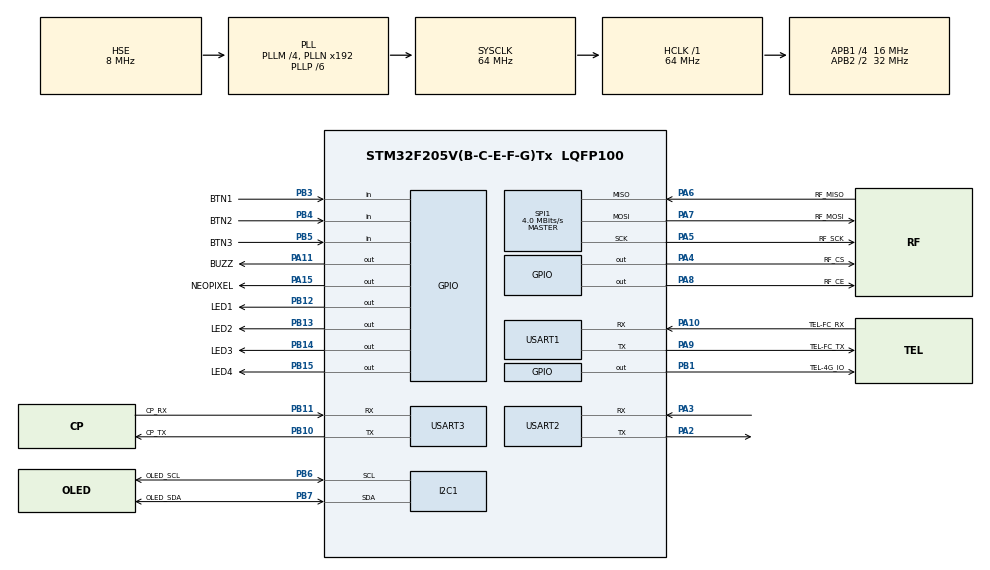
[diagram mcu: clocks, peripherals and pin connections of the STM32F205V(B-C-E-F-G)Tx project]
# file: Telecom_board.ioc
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Dma.Request0=USART1_RX
Dma.Request1=USART2_RX
Dma.Request2=USART3_RX
Dma.USART1_RX.0.Direction=DMA_PERIPH_TO_MEMORY
Dma.USART1_RX.0.FIFOMode=DMA_FIFOMODE_DISABLE
Dma.USART1_RX.0.Instance=DMA2_Stream2
Dma.USART1_RX.0.MemDataAlignment=DMA_MDATAALIGN_BYTE
Dma.USART1_RX.0.MemInc=DMA_MINC_ENABLE
Dma.USART1_RX.0.Mode=DMA_NORMAL
Dma.USART1_RX.0.PeriphDataAlignment=DMA_PDATAALIGN_BYTE
Dma.USART1_RX.0.PeriphInc=DMA_PINC_DISABLE
Dma.USART1_RX.0.Priority=DMA_PRIORITY_LOW
Dma.USART2_RX.1.Direction=DMA_PERIPH_TO_MEMORY
Dma.USART2_RX.1.FIFOMode=DMA_FIFOMODE_DISABLE
Dma.USART2_RX.1.Instance=DMA1_Stream5
Dma.USART2_RX.1.MemDataAlignment=DMA_MDATAALIGN_BYTE
Dma.USART2_RX.1.MemInc=DMA_MINC_ENABLE
Dma.USART2_RX.1.Mode=DMA_NORMAL
Dma.USART2_RX.1.PeriphDataAlignment=DMA_PDATAALIGN_BYTE
Dma.USART2_RX.1.PeriphInc=DMA_PINC_DISABLE
Dma.USART2_RX.1.Priority=DMA_PRIORITY_LOW
Dma.USART3_RX.2.Direction=DMA_PERIPH_TO_MEMORY
Dma.USART3_RX.2.FIFOMode=DMA_FIFOMODE_DISABLE
Dma.USART3_RX.2.Instance=DMA1_Stream1
Dma.USART3_RX.2.MemDataAlignment=DMA_MDATAALIGN_BYTE
Dma.USART3_RX.2.MemInc=DMA_MINC_ENABLE
Dma.USART3_RX.2.Mode=DMA_NORMAL
Dma.USART3_RX.2.PeriphDataAlignment=DMA_PDATAALIGN_BYTE
Dma.USART3_RX.2.PeriphInc=DMA_PINC_DISABLE
Dma.USART3_RX.2.Priority=DMA_PRIORITY_LOW
FREERTOS.INCLUDE_vTaskDelayUntil=1
FREERTOS.Tasks01=defaultTask,0,128,StartDefaultTask,Default,NULL,Dynamic,NULL,NULL
I2C1.I2C_Mode=I2C_Fast
Mcu.Family=STM32F2
Mcu.Name=STM32F205V(B-C-E-F-G)Tx
Mcu.Package=LQFP100
NVIC.DMA1_Stream1_IRQn=true\:5\:0\:false\:false\:true\:true\:false\:true
NVIC.DMA1_Stream5_IRQn=true\:5\:0\:false\:false\:true\:true\:false\:true
NVIC.DMA2_Stream2_IRQn=true\:5\:0\:false\:false\:true\:true\:false\:true
NVIC.PriorityGroup=NVIC_PRIORITYGROUP_4
NVIC.TIM5_IRQn=true\:15\:0\:true\:false\:true\:false\:false\:true
NVIC.TimeBase=TIM5_IRQn
NVIC.TimeBaseIP=TIM5
NVIC.USART1_IRQn=true\:5\:0\:false\:false\:true\:true\:true\:true
NVIC.USART2_IRQn=true\:5\:0\:false\:false\:true\:true\:true\:true
NVIC.USART3_IRQn=true\:5\:0\:false\:false\:true\:true\:true\:true
PA10.GPIO_Label=TEL-FC_RX
PA10.Mode=Asynchronous
PA10.Signal=USART1_RX
PA11.GPIO_Label=BUZZ
PA11.Signal=GPIO_Output
PA13.Mode=Serial_Wire
PA13.Signal=SYS_JTMS-SWDIO
PA14.Mode=Serial_Wire
PA14.Signal=SYS_JTCK-SWCLK
PA15.GPIO_Label=NEOPIXEL
PA15.Signal=GPIO_Output
PA2.Mode=Asynchronous
PA2.Signal=USART2_TX
PA3.Mode=Asynchronous
PA3.Signal=USART2_RX
PA4.GPIO_Label=RF_CS
PA4.Signal=GPIO_Output
PA5.GPIO_Label=RF_SCK
PA5.Mode=Full_Duplex_Master
PA5.Signal=SPI1_SCK
PA6.GPIO_Label=RF_MISO
PA6.Mode=Full_Duplex_Master
PA6.Signal=SPI1_MISO
PA7.GPIO_Label=RF_MOSI
PA7.Mode=Full_Duplex_Master
PA7.Signal=SPI1_MOSI
PA8.GPIO_Label=RF_CE
PA8.Signal=GPIO_Output
PA9.GPIO_Label=TEL-FC_TX
PA9.Mode=Asynchronous
PA9.Signal=USART1_TX
PB1.GPIO_Label=TEL-4G_IO
PB1.Signal=GPIO_Output
PB10.GPIO_Label=CP_TX
PB10.Mode=Asynchronous
PB10.Signal=USART3_TX
PB11.GPIO_Label=CP_RX
PB11.Mode=Asynchronous
PB11.Signal=USART3_RX
PB12.GPIO_Label=LED1
PB12.Signal=GPIO_Output
PB13.GPIO_Label=LED2
PB13.Signal=GPIO_Output
PB14.GPIO_Label=LED3
PB14.Signal=GPIO_Output
PB15.GPIO_Label=LED4
PB15.Signal=GPIO_Output
PB3.GPIO_Label=BTN1
PB3.Signal=GPIO_Input
PB4.GPIO_Label=BTN2
PB4.Signal=GPIO_Input
PB5.GPIO_Label=BTN3
PB5.Signal=GPIO_Input
PB6.GPIO_Label=OLED_SCL
PB6.Mode=I2C
PB6.Signal=I2C1_SCL
PB7.GPIO_Label=OLED_SDA
PB7.Mode=I2C
PB7.Signal=I2C1_SDA
PH0-OSC_IN.Mode=HSE-External-Oscillator
PH0-OSC_IN.Signal=RCC_OSC_IN
PH1-OSC_OUT.Mode=HSE-External-Oscillator
PH1-OSC_OUT.Signal=RCC_OSC_OUT
ProjectManager.HeapSize=0x2000
ProjectManager.StackSize=0x4000
ProjectManager.TargetToolchain=Makefile
RCC.48MHZClocksFreq_Value=96000000
RCC.AHBFreq_Value=64000000
RCC.APB1CLKDivider=RCC_HCLK_DIV4
RCC.APB1Freq_Value=16000000
RCC.APB1TimFreq_Value=32000000
RCC.APB2CLKDivider=RCC_HCLK_DIV2
RCC.APB2Freq_Value=32000000
RCC.APB2TimFreq_Value=64000000
RCC.CortexFreq_Value=64000000
RCC.HCLKFreq_Value=64000000
RCC.HSE_VALUE=8000000
RCC.HSI_VALUE=16000000
RCC.LSE_VALUE=32768
RCC.PLLM=4
RCC.PLLP=RCC_PLLP_DIV6
RCC.PLLSourceVirtual=RCC_PLLSOURCE_HSE
RCC.SYSCLKFreq_VALUE=64000000
RCC.SYSCLKSource=RCC_SYSCLKSOURCE_PLLCLK
RCC.VCOOutputFreq_Value=384000000
SPI1.BaudRatePrescaler=SPI_BAUDRATEPRESCALER_8
SPI1.CalculateBaudRate=4.0 MBits/s
SPI1.Direction=SPI_DIRECTION_2LINES
SPI1.Mode=SPI_MODE_MASTER
SPI1.VirtualType=VM_MASTER
USART1.VirtualMode=VM_ASYNC
USART2.VirtualMode=VM_ASYNC
USART3.VirtualMode=VM_ASYNC
VP_FREERTOS_VS_CMSIS_V1.Mode=CMSIS_V1
VP_SYS_VS_tim5.Mode=TIM5
board=custom

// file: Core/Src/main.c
/* USER CODE BEGIN Header */
/**
 ******************************************************************************
 * @file           : main.c
 * @brief          : Main program body
 ******************************************************************************
 * @attention
 *
 * Copyright (c) 2022 STMicroelectronics.
 * All rights reserved.
 *
 * This software is licensed under terms that can be found in the LICENSE file
 * in the root directory of this software component.
 * If no LICENSE file comes with this software, it is provided AS-IS.
 *
 ******************************************************************************
 */
/* USER CODE END Header */
#include "main.h"

/* USER CODE BEGIN Includes */
// FreeRTOS
#include <stdio.h>

#include "FreeRTOS.h"
#include "Oled.h"
#include "Radio.h"
#include "event_groups.h"
#include "queue.h"
#include "semphr.h"
#include "task.h"
#include "timers.h"
#include "uartRingBufDMA.h"
#include "portable.h"
/* USER CODE END Includes */

I2C_HandleTypeDef hi2c1;

SPI_HandleTypeDef hspi1;

UART_HandleTypeDef huart1;
UART_HandleTypeDef huart2;
UART_HandleTypeDef huart3;
DMA_HandleTypeDef hdma_usart1_rx;
DMA_HandleTypeDef hdma_usart2_rx;
DMA_HandleTypeDef hdma_usart3_rx;

/* USER CODE BEGIN PV */
TaskHandle_t RadioTaskHandler;
TaskHandle_t InitTaskHandler;
TaskHandle_t DisplayTaskHandler;

RingBuffer_t Ring;
RadioHandler_t Radio;
OLEDHandle_t Oled;
/* USER CODE END PV */

void SystemClock_Config(void);
static void MX_GPIO_Init(void);
static void MX_I2C1_Init(void);
static void MX_SPI1_Init(void);
static void MX_USART1_UART_Init(void);
static void MX_USART3_UART_Init(void);
static void MX_DMA_Init(void);
static void MX_USART2_UART_Init(void);

/* USER CODE BEGIN PFP */
void Radio_Task(void *pvParameters);
void Init_Task(void *pvParameters);
void Display_Task(void *pvParameters);

/* USER CODE END PFP */

int main(void) {

    /* MCU
     * Configuration--------------------------------------------------------*/

    /* Reset of all peripherals, Initializes the Flash interface and the
     * Systick. */
    HAL_Init();

    /* Configure the system clock */
    SystemClock_Config();

    /* Initialize all configured peripherals */
    MX_GPIO_Init();
    MX_I2C1_Init();
    MX_SPI1_Init();
    MX_DMA_Init();
    MX_USART1_UART_Init();
    MX_USART3_UART_Init();
    MX_USART2_UART_Init();
    /* USER CODE BEGIN 2 */

    xTaskCreate(&Init_Task, "Init", 256, NULL, 1, &InitTaskHandler);
    vTaskStartScheduler();
    /* USER CODE END 2 */

    /* We should never get here as control is now taken by the scheduler */
    /* Infinite loop */
    while (1) {

    }
}

void SystemClock_Config(void) {
    RCC_OscInitTypeDef RCC_OscInitStruct = {0};
    RCC_ClkInitTypeDef RCC_ClkInitStruct = {0};

    /** Initializes the RCC Oscillators according to the specified parameters
     * in the RCC_OscInitTypeDef structure.
     */
    RCC_OscInitStruct.OscillatorType = RCC_OSCILLATORTYPE_HSE;
    RCC_OscInitStruct.HSEState = RCC_HSE_ON;
    RCC_OscInitStruct.PLL.PLLState = RCC_PLL_ON;
    RCC_OscInitStruct.PLL.PLLSource = RCC_PLLSOURCE_HSE;
    RCC_OscInitStruct.PLL.PLLM = 4;
    RCC_OscInitStruct.PLL.PLLN = 192;
    RCC_OscInitStruct.PLL.PLLP = RCC_PLLP_DIV6;
    RCC_OscInitStruct.PLL.PLLQ = 4;
    if (HAL_RCC_OscConfig(&RCC_OscInitStruct) != HAL_OK) {
        Error_Handler();
    }
    /** Initializes the CPU, AHB and APB buses clocks
     */
    RCC_ClkInitStruct.ClockType = RCC_CLOCKTYPE_HCLK | RCC_CLOCKTYPE_SYSCLK |
                                  RCC_CLOCKTYPE_PCLK1 | RCC_CLOCKTYPE_PCLK2;
    RCC_ClkInitStruct.SYSCLKSource = RCC_SYSCLKSOURCE_PLLCLK;
    RCC_ClkInitStruct.AHBCLKDivider = RCC_SYSCLK_DIV1;
    RCC_ClkInitStruct.APB1CLKDivider = RCC_HCLK_DIV4;
    RCC_ClkInitStruct.APB2CLKDivider = RCC_HCLK_DIV2;

    if (HAL_RCC_ClockConfig(&RCC_ClkInitStruct, FLASH_LATENCY_2) != HAL_OK) {
        Error_Handler();
    }
}

static void MX_I2C1_Init(void) {

    hi2c1.Instance = I2C1;
    hi2c1.Init.ClockSpeed = 400000;
    hi2c1.Init.DutyCycle = I2C_DUTYCYCLE_2;
    hi2c1.Init.OwnAddress1 = 0;
    hi2c1.Init.AddressingMode = I2C_ADDRESSINGMODE_7BIT;
    hi2c1.Init.DualAddressMode = I2C_DUALADDRESS_DISABLE;
    hi2c1.Init.OwnAddress2 = 0;
    hi2c1.Init.GeneralCallMode = I2C_GENERALCALL_DISABLE;
    hi2c1.Init.NoStretchMode = I2C_NOSTRETCH_DISABLE;
    if (HAL_I2C_Init(&hi2c1) != HAL_OK) {
        Error_Handler();
    }
}

static void MX_SPI1_Init(void) {

    /* SPI1 parameter configuration*/
    hspi1.Instance = SPI1;
    hspi1.Init.Mode = SPI_MODE_MASTER;
    hspi1.Init.Direction = SPI_DIRECTION_2LINES;
    hspi1.Init.DataSize = SPI_DATASIZE_8BIT;
    hspi1.Init.CLKPolarity = SPI_POLARITY_LOW;
    hspi1.Init.CLKPhase = SPI_PHASE_1EDGE;
    hspi1.Init.NSS = SPI_NSS_SOFT;
    hspi1.Init.BaudRatePrescaler = SPI_BAUDRATEPRESCALER_8;
    hspi1.Init.FirstBit = SPI_FIRSTBIT_MSB;
    hspi1.Init.TIMode = SPI_TIMODE_DISABLE;
    hspi1.Init.CRCCalculation = SPI_CRCCALCULATION_DISABLE;
    hspi1.Init.CRCPolynomial = 10;
    if (HAL_SPI_Init(&hspi1) != HAL_OK) {
        Error_Handler();
    }
}

static void MX_USART1_UART_Init(void) {

    huart1.Instance = USART1;
    huart1.Init.BaudRate = 115200;
    huart1.Init.WordLength = UART_WORDLENGTH_8B;
    huart1.Init.StopBits = UART_STOPBITS_1;
    huart1.Init.Parity = UART_PARITY_NONE;
    huart1.Init.Mode = UART_MODE_TX_RX;
    huart1.Init.HwFlowCtl = UART_HWCONTROL_NONE;
    huart1.Init.OverSampling = UART_OVERSAMPLING_16;
    if (HAL_UART_Init(&huart1) != HAL_OK) {
        Error_Handler();
    }
}

static void MX_USART2_UART_Init(void) {

    huart2.Instance = USART2;
    huart2.Init.BaudRate = 115200;
    huart2.Init.WordLength = UART_WORDLENGTH_8B;
    huart2.Init.StopBits = UART_STOPBITS_1;
    huart2.Init.Parity = UART_PARITY_NONE;
    huart2.Init.Mode = UART_MODE_TX_RX;
    huart2.Init.HwFlowCtl = UART_HWCONTROL_NONE;
    huart2.Init.OverSampling = UART_OVERSAMPLING_16;
    if (HAL_UART_Init(&huart2) != HAL_OK) {
        Error_Handler();
    }
}

static void MX_USART3_UART_Init(void) {

    huart3.Instance = USART3;
    huart3.Init.BaudRate = 115200;
    huart3.Init.WordLength = UART_WORDLENGTH_8B;
    huart3.Init.StopBits = UART_STOPBITS_1;
    huart3.Init.Parity = UART_PARITY_NONE;
    huart3.Init.Mode = UART_MODE_TX_RX;
    huart3.Init.HwFlowCtl = UART_HWCONTROL_NONE;
    huart3.Init.OverSampling = UART_OVERSAMPLING_16;
    if (HAL_UART_Init(&huart3) != HAL_OK) {
        Error_Handler();
    }
}

static void MX_DMA_Init(void) {
    /* DMA controller clock enable */
    __HAL_RCC_DMA2_CLK_ENABLE();
    __HAL_RCC_DMA1_CLK_ENABLE();

    /* DMA interrupt init */
    /* DMA1_Stream1_IRQn interrupt configuration */
    HAL_NVIC_SetPriority(DMA1_Stream1_IRQn, 5, 0);
    HAL_NVIC_EnableIRQ(DMA1_Stream1_IRQn);
    /* DMA1_Stream5_IRQn interrupt configuration */
    HAL_NVIC_SetPriority(DMA1_Stream5_IRQn, 5, 0);
    HAL_NVIC_EnableIRQ(DMA1_Stream5_IRQn);
    /* DMA2_Stream2_IRQn interrupt configuration */
    HAL_NVIC_SetPriority(DMA2_Stream2_IRQn, 5, 0);
    HAL_NVIC_EnableIRQ(DMA2_Stream2_IRQn);
}

static void MX_GPIO_Init(void) {
    GPIO_InitTypeDef GPIO_InitStruct = {0};

    /* GPIO Ports Clock Enable */
    __HAL_RCC_GPIOH_CLK_ENABLE();
    __HAL_RCC_GPIOA_CLK_ENABLE();
    __HAL_RCC_GPIOB_CLK_ENABLE();

    /*Configure GPIO pin Output Level */
    HAL_GPIO_WritePin(GPIOA, RF_CS_Pin | RF_CE_Pin | BUZZ_Pin | NEOPIXEL_Pin,
                      GPIO_PIN_RESET);

    /*Configure GPIO pin Output Level */
    HAL_GPIO_WritePin(GPIOB,
                      TEL_4G_IO_Pin | LED1_Pin | LED2_Pin | LED3_Pin | LED4_Pin,
                      GPIO_PIN_RESET);

    /*Configure GPIO pins : RF_CS_Pin RF_CE_Pin BUZZ_Pin NEOPIXEL_Pin */
    GPIO_InitStruct.Pin = RF_CS_Pin | RF_CE_Pin | BUZZ_Pin | NEOPIXEL_Pin;
    GPIO_InitStruct.Mode = GPIO_MODE_OUTPUT_PP;
    GPIO_InitStruct.Pull = GPIO_NOPULL;
    GPIO_InitStruct.Speed = GPIO_SPEED_FREQ_LOW;
    HAL_GPIO_Init(GPIOA, &GPIO_InitStruct);

    /*Configure GPIO pins : TEL_4G_IO_Pin LED1_Pin LED2_Pin LED3_Pin
                             LED4_Pin */
    GPIO_InitStruct.Pin =
        TEL_4G_IO_Pin | LED1_Pin | LED2_Pin | LED3_Pin | LED4_Pin;
    GPIO_InitStruct.Mode = GPIO_MODE_OUTPUT_PP;
    GPIO_InitStruct.Pull = GPIO_NOPULL;
    GPIO_InitStruct.Speed = GPIO_SPEED_FREQ_LOW;
    HAL_GPIO_Init(GPIOB, &GPIO_InitStruct);

    /*Configure GPIO pins : BTN1_Pin BTN2_Pin BTN3_Pin */
    GPIO_InitStruct.Pin = BTN1_Pin | BTN2_Pin | BTN3_Pin;
    GPIO_InitStruct.Mode = GPIO_MODE_INPUT;
    GPIO_InitStruct.Pull = GPIO_NOPULL;
    HAL_GPIO_Init(GPIOB, &GPIO_InitStruct);
}

/* USER CODE BEGIN 4 */
int _write(int file, char *outgoing, int len) {
    HAL_UART_Transmit(&huart3, (uint8_t *)outgoing, len, 100);
    return len;
}

void Init_Task(void *pvParamters) {
    // Init for Ring Buffer. Must be called first
    Ring.Ring1.enable = true;
    Ring.Ring2.enable = true;
    Ring.Ring3.enable = true;
    Ring.Ring1.hdma = &hdma_usart1_rx;
    Ring.Ring1.huart = &huart1;
    Ring.Ring2.hdma = &hdma_usart2_rx;
    Ring.Ring2.huart = &huart2;
    Ring.Ring3.hdma = &hdma_usart3_rx;
    Ring.Ring3.huart = &huart3;
    Ring.GetTime = xTaskGetTickCount;
    Ring_Init(&Ring);
    // Init for Radio
    Radio.Init.Debug = &Ring.Ring3;
    Radio.Init.enableDebug = false;
    Radio.Init.nrfInit.CE_Pin = RF_CE_Pin;
    Radio.Init.nrfInit.CSN_Pin = RF_CS_Pin;
    Radio.Init.nrfInit.Port = RF_CS_GPIO_Port;
    Radio.Init.nrfInit.getTick = xTaskGetTickCount;
    Radio.Init.nrfInit.Timeout = 0;
    Radio.Init.nrfInit.wait = vTaskDelay;
    Radio.Init.nrfInit.hspi = &hspi1;
    Radio.Init.Serial = &Ring.Ring1;
    Radio.Init.Display = &Oled.Display;
    Radio.Init.PortMalloc = pvPortMalloc;
    Radio.Init.PortFree = vPortFree;
    Radio_Init(&Radio, Radio.Init);
    // Init for OLED Display
    Oled.Init.ControlPin.Port = BTN3_GPIO_Port;
    Oled.Init.ControlPin.Pin = BTN3_Pin;
    Oled.Init.ControlPin.AutoChange = false;
    Oled.Init.SelectPage = 1;
    Oled.Init.GetTime = xTaskGetTickCount;
    Oled.Init.Wait = vTaskDelay;
    Oled_Init(&Oled);
    xTaskCreate(&Display_Task, "Display", 256, NULL, 3, &DisplayTaskHandler);
    xTaskCreate(&Radio_Task, "Radio", 1024, NULL, 2, &RadioTaskHandler);
    vTaskDelete(InitTaskHandler);
    for (;;) {
    }
}

void Radio_Task(void *pvParameters) {
    TickType_t StartTask = xTaskGetTickCount();
    for (;;) {
        Radio_Process();
        vTaskDelayUntil(&StartTask, 10);
    }
}

void Display_Task(void *PvParameters) {
    TickType_t StartTask = xTaskGetTickCount();
    for (;;) {
        Oled_Process();
        HAL_GPIO_TogglePin(LED3_GPIO_Port, LED3_Pin);
        vTaskDelayUntil(&StartTask, 200);
    }
}

/* USER CODE END 4 */

void HAL_TIM_PeriodElapsedCallback(TIM_HandleTypeDef *htim) {
    if (htim->Instance == TIM5) {
        HAL_IncTick();
    }
}

void Error_Handler(void) {
    /* USER CODE BEGIN Error_Handler_Debug */
    /* User can add his own implementation to report the HAL error return state
     */
    __disable_irq();
    while (1) {
    }
    /* USER CODE END Error_Handler_Debug */
}

#ifdef USE_FULL_ASSERT
/**
 * @brief  Reports the name of the source file and the source line number
 *         where the assert_param error has occurred.
 * @param  file: pointer to the source file name
 * @param  line: assert_param error line source number
 * @retval None
 */
void assert_failed(uint8_t *file, uint32_t line) {
    /* USER CODE BEGIN 6 */
    /* User can add his own implementation to report the file name and line
       number, ex: printf("Wrong parameters value: file %s on line %d\r\n",
       file, line) */
    /* USER CODE END 6 */
}
#endif /* USE_FULL_ASSERT */
